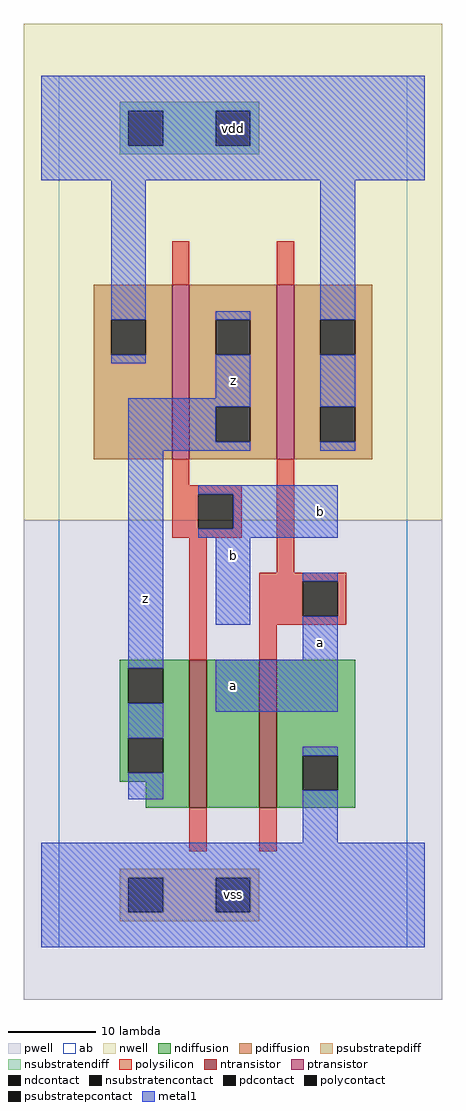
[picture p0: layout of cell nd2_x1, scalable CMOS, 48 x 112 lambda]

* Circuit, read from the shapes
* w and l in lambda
.subckt nd2_x1 a b vdd vss z
M1 n1 b z vss nfet w=17 l=2
M2 vss a n1 vss nfet w=17 l=2
M3 z b vdd vdd pfet w=20 l=2
M4 vdd a z vdd pfet w=20 l=2
.ends

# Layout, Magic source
magic
tech scmos
<< ab >>
rect 0 0 40 100
<< pwell >>
rect -4 -6 44 49
<< nwell >>
rect -4 49 44 106
<< polysilicon >>
rect 13 76 15 81
rect 25 76 27 81
rect 13 53 15 56
rect 13 52 21 53
rect 13 48 16 52
rect 20 48 21 52
rect 13 47 21 48
rect 15 33 17 47
rect 25 43 27 56
rect 23 42 33 43
rect 23 38 28 42
rect 32 38 33 42
rect 23 37 33 38
rect 23 33 25 37
rect 15 11 17 16
rect 23 11 25 16
<< ndiffusion >>
rect 7 32 15 33
rect 7 28 8 32
rect 12 28 15 32
rect 7 24 15 28
rect 7 20 8 24
rect 12 20 15 24
rect 7 19 15 20
rect 10 16 15 19
rect 17 16 23 33
rect 25 22 34 33
rect 25 18 28 22
rect 32 18 34 22
rect 25 16 34 18
<< pdiffusion >>
rect 4 72 13 76
rect 4 68 6 72
rect 10 68 13 72
rect 4 56 13 68
rect 15 72 25 76
rect 15 68 18 72
rect 22 68 25 72
rect 15 62 25 68
rect 15 58 18 62
rect 22 58 25 62
rect 15 56 25 58
rect 27 72 36 76
rect 27 68 30 72
rect 34 68 36 72
rect 27 62 36 68
rect 27 58 30 62
rect 34 58 36 62
rect 27 56 36 58
<< metal1 >>
rect -2 88 42 100
rect 6 72 10 88
rect 6 67 10 68
rect 18 72 22 73
rect 18 63 22 68
rect 8 62 22 63
rect 8 58 18 62
rect 8 57 22 58
rect 30 72 34 88
rect 30 62 34 68
rect 30 57 34 58
rect 8 32 12 57
rect 16 52 32 53
rect 20 48 32 52
rect 16 47 32 48
rect 18 37 22 47
rect 28 42 32 43
rect 28 33 32 38
rect 8 24 12 28
rect 18 27 32 33
rect 8 17 12 20
rect 28 22 32 23
rect 28 12 32 18
rect -2 0 42 12
<< ntransistor >>
rect 15 16 17 33
rect 23 16 25 33
<< ptransistor >>
rect 13 56 15 76
rect 25 56 27 76
<< polycontact >>
rect 16 48 20 52
rect 28 38 32 42
<< ndcontact >>
rect 8 28 12 32
rect 8 20 12 24
rect 28 18 32 22
<< pdcontact >>
rect 6 68 10 72
rect 18 68 22 72
rect 18 58 22 62
rect 30 68 34 72
rect 30 58 34 62
<< psubstratepcontact >>
rect 8 4 12 8
rect 18 4 22 8
<< nsubstratencontact >>
rect 8 92 12 96
rect 18 92 22 96
<< psubstratepdiff >>
rect 7 8 23 9
rect 7 4 8 8
rect 12 4 18 8
rect 22 4 23 8
rect 7 3 23 4
<< nsubstratendiff >>
rect 7 96 23 97
rect 7 92 8 96
rect 12 92 18 96
rect 22 92 23 96
rect 7 91 23 92
<< labels >>
rlabel metal1 10 40 10 40 6 z
rlabel metal1 10 40 10 40 6 z
rlabel metal1 20 6 20 6 6 vss
rlabel metal1 20 6 20 6 6 vss
rlabel metal1 20 30 20 30 6 a
rlabel metal1 20 45 20 45 6 b
rlabel metal1 20 30 20 30 6 a
rlabel metal1 20 45 20 45 6 b
rlabel metal1 20 65 20 65 6 z
rlabel metal1 20 65 20 65 6 z
rlabel metal1 20 94 20 94 6 vdd
rlabel metal1 20 94 20 94 6 vdd
rlabel metal1 30 35 30 35 6 a
rlabel metal1 30 35 30 35 6 a
rlabel metal1 30 50 30 50 6 b
rlabel metal1 30 50 30 50 6 b
<< end >>
